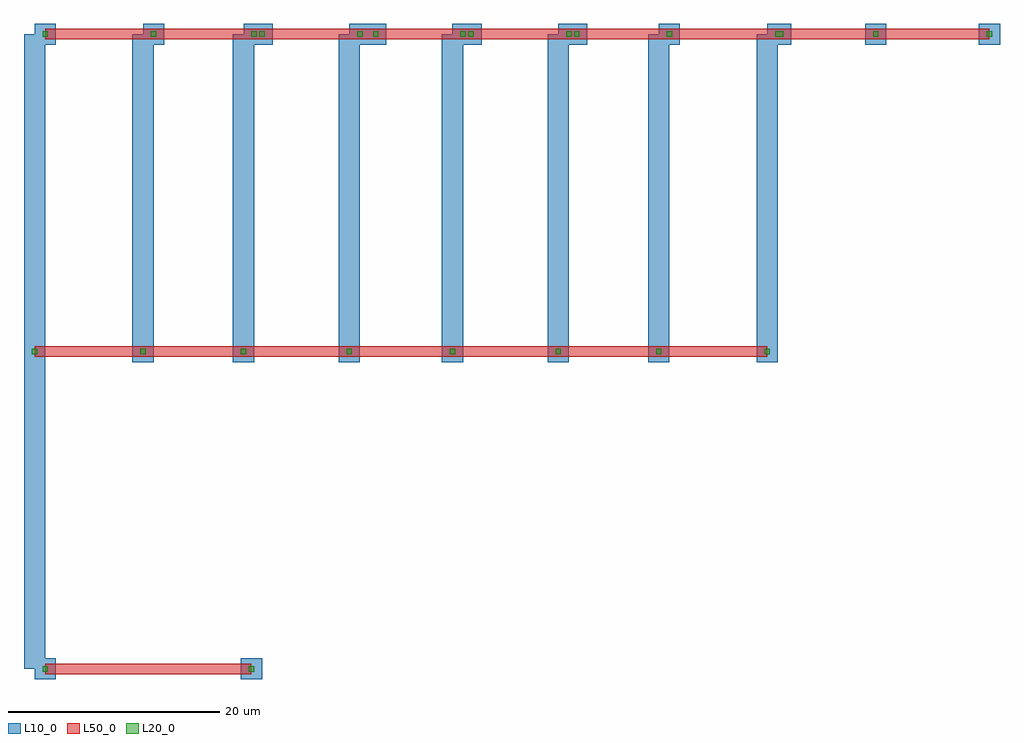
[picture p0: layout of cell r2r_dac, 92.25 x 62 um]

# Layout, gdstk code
import gdstk
lib = gdstk.Library(unit=1e-6, precision=1e-09)
def R(c, l, rs):  # rectangles x0, y0, x1, y1
    for r in rs: c.add(gdstk.rectangle(r[:2], r[2:], *l))
L10_0 = (10, 0)
L20_0 = (20, 0)
L50_0 = (50, 0)

r_sp0 = lib.new_cell('R_sp0')
R(r_sp0, L10_0, [(-1,-0.5,1,1.5), (9.25,-0.5,11.25,1.5)])
R(r_sp0, L20_0, [(-0.25,0.25,0.25,0.75), (10,0.25,10.5,0.75)])
R(r_sp0, L50_0, [(0,0,10.25,1)])

r_sp1 = lib.new_cell('R_sp1')
R(r_sp1, L10_0, [(-1,-0.5,1,1.5), (8.5,-0.5,10.5,1.5)])
R(r_sp1, L20_0, [(-0.25,0.25,0.25,0.75), (9.25,0.25,9.75,0.75)])
R(r_sp1, L50_0, [(0,0,9.5,1)])

r_sp2 = lib.new_cell('R_sp2')
R(r_sp2, L10_0, [(-1,-0.5,1,1.5), (9,-0.5,11,1.5)])
R(r_sp2, L20_0, [(-0.25,0.25,0.25,0.75), (9.75,0.25,10.25,0.75)])
R(r_sp2, L50_0, [(0,0,10,1)])

r_sp3 = lib.new_cell('R_sp3')
R(r_sp3, L10_0, [(-1,-0.5,1,1.5), (8.75,-0.5,10.75,1.5)])
R(r_sp3, L20_0, [(-0.25,0.25,0.25,0.75), (9.5,0.25,10,0.75)])
R(r_sp3, L50_0, [(0,0,9.75,1)])

r_in0 = lib.new_cell('R_in0')
R(r_in0, L10_0, [(-1,-0.5,1,1.5), (19.5,-0.5,21.5,1.5)])
R(r_in0, L20_0, [(-0.25,0.25,0.25,0.75), (20.25,0.25,20.75,0.75)])
R(r_in0, L50_0, [(0,0,20.5,1)])

r_in1 = lib.new_cell('R_in1')
R(r_in1, L10_0, [(-1,-0.5,1,1.5), (20,-0.5,22,1.5)])
R(r_in1, L20_0, [(-0.25,0.25,0.25,0.75), (20.75,0.25,21.25,0.75)])
R(r_in1, L50_0, [(0,0,21,1)])

r_term = lib.new_cell('R_term')
R(r_term, L10_0, [(-1,-0.5,1,1.5), (18.5,-0.5,20.5,1.5)])
R(r_term, L20_0, [(-0.25,0.25,0.25,0.75), (19.25,0.25,19.75,0.75)])
R(r_term, L50_0, [(0,0,19.5,1)])

r_in5 = lib.new_cell('R_in5')
R(r_in5, L10_0, [(-1,-0.5,1,1.5), (19,-0.5,21,1.5)])
R(r_in5, L20_0, [(-0.25,0.25,0.25,0.75), (19.75,0.25,20.25,0.75)])
R(r_in5, L50_0, [(0,0,20,1)])

r2r_dac = lib.new_cell('r2r_dac')
R(r2r_dac, L10_0, [(-1,-29.5,1,0.5), (-1,0.5,1,30.5), (9.25,0.5,11.25,30.5), (18.75,0.5,20.75,30.5), (28.75,0.5,30.75,30.5), (38.5,0.5,40.5,30.5), (48.5,0.5,50.5,30.5), (58,0.5,60,30.5), (68.25,0.5,70.25,30.5)])
r2r_dac.add(gdstk.Reference(r_sp0, (0,0)))
r2r_dac.add(gdstk.Reference(r_sp1, (10.25,0)))
r2r_dac.add(gdstk.Reference(r_sp2, (19.75,0)))
r2r_dac.add(gdstk.Reference(r_sp3, (29.75,0)))
r2r_dac.add(gdstk.Reference(r_sp2, (39.5,0)))
r2r_dac.add(gdstk.Reference(r_sp1, (49.5,0)))
r2r_dac.add(gdstk.Reference(r_sp0, (59,0)))
r2r_dac.add(gdstk.Reference(r_in0, (1,30)))
r2r_dac.add(gdstk.Reference(r_in1, (11.25,30)))
r2r_dac.add(gdstk.Reference(r_in0, (20.75,30)))
r2r_dac.add(gdstk.Reference(r_in0, (30.75,30)))
r2r_dac.add(gdstk.Reference(r_term, (40.5,30)))
r2r_dac.add(gdstk.Reference(r_in5, (50.5,30)))
r2r_dac.add(gdstk.Reference(r_term, (60,30)))
r2r_dac.add(gdstk.Reference(r_in5, (70.25,30)))
r2r_dac.add(gdstk.Reference(r_term, (1,-30)))

lib.write_gds('r2r_dac.gds')
